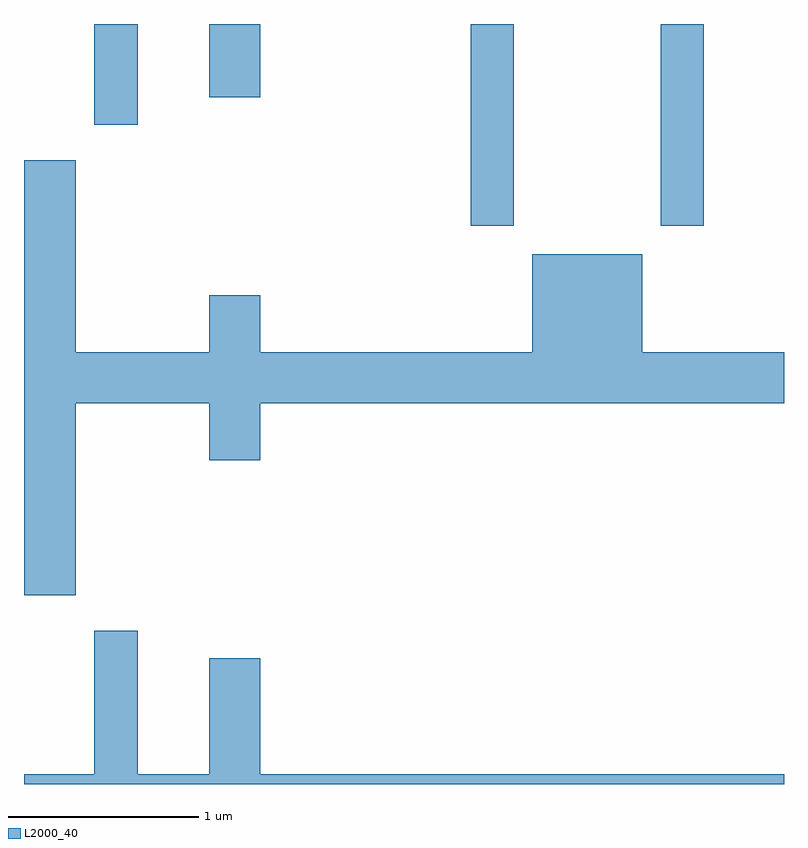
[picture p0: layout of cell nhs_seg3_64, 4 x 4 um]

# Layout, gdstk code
import gdstk
lib = gdstk.Library(unit=1e-6, precision=1e-09)
def R(c, l, rs):  # rectangles x0, y0, x1, y1
    for r in rs: c.add(gdstk.rectangle(r[:2], r[2:], *l))
def P(c, l, *ps):  # polygons
    for p in ps: c.add(gdstk.Polygon(p, *l))
L2000_40 = (2000, 40)

nhs_seg3_64 = lib.new_cell('nhs_seg3_64')
R(nhs_seg3_64, L2000_40, [(187.961,1246.831,188.189,1247.892), (188.961,1246.831,189.189,1247.892), (185.981,1247.361,186.209,1247.892), (186.586,1247.506,186.854,1247.892)])
P(nhs_seg3_64, L2000_40, [(185.884,1245.896),(186.586,1245.896),(186.586,1245.596),(186.854,1245.596),(186.854,1245.896),(189.611,1245.896),(189.611,1246.164),(188.864,1246.164),(188.864,1246.679),(188.286,1246.679),(188.286,1246.164),(186.854,1246.164),(186.854,1246.464),(186.586,1246.464),(186.586,1246.164),(185.884,1246.164),(185.884,1247.174),(185.611,1247.174),(185.611,1244.886),(185.884,1244.886)],
  [(189.611,1243.944),(186.854,1243.944),(186.854,1244.554),(186.586,1244.554),(186.586,1243.944),(186.209,1243.944),(186.209,1244.699),(185.981,1244.699),(185.981,1243.944),(185.611,1243.944),(185.611,1243.892),(189.611,1243.892)])

lib.write_gds('nhs_seg3_64.gds')
